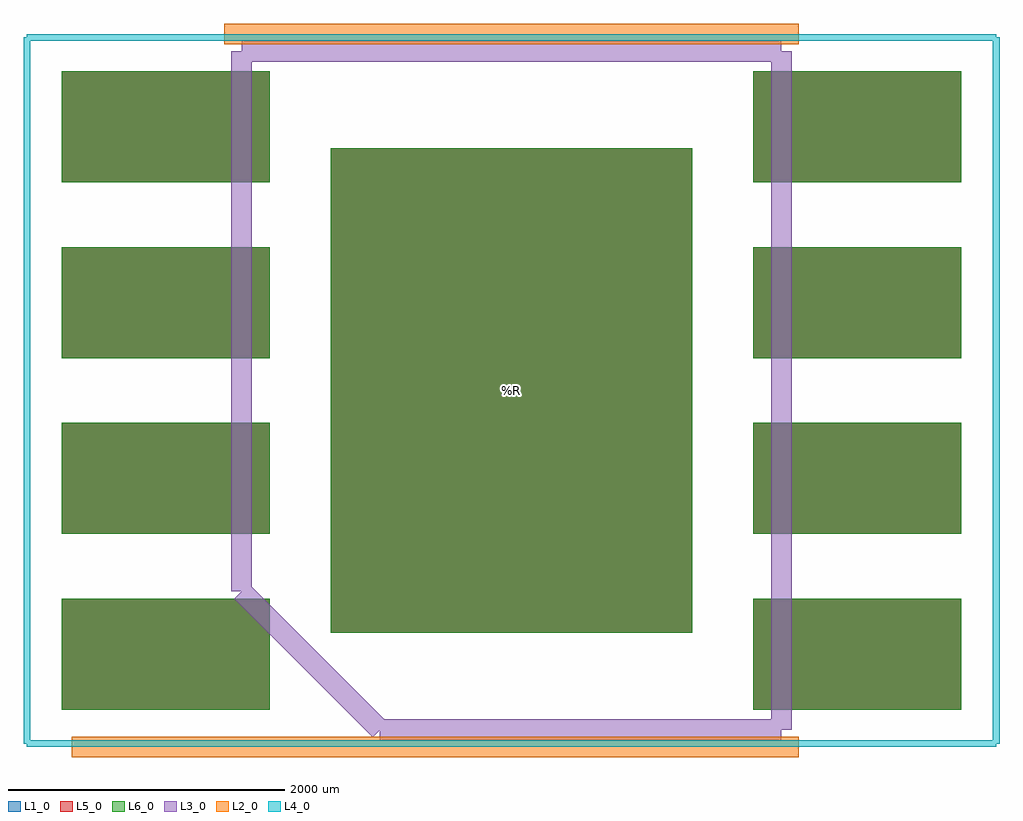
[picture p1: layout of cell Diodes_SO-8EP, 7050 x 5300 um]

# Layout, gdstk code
import gdstk
lib = gdstk.Library(unit=1e-6, precision=1e-09)
def R(c, l, rs):  # rectangles x0, y0, x1, y1
    for r in rs: c.add(gdstk.rectangle(r[:2], r[2:], *l))
def A(c, l, x, y, w, h, nx, ny, dx, dy):  # array of equal rectangles
    R(c, l, [(x+i*dx, y+j*dy, x+i*dx+w, y+j*dy+h) for i in range(nx) for j in range(ny)])
L1_0 = (1, 0)
L2_0 = (2, 0)
L3_0 = (3, 0)
L4_0 = (4, 0)
L5_0 = (5, 0)
L6_0 = (6, 0)

diodes_so_8ep = lib.new_cell('Diodes_SO-8EP')
A(diodes_so_8ep, L1_0, -3250, -2306, 1505, 802, 1, 4, 0, 1270)
A(diodes_so_8ep, L1_0, 1745, -2306, 1505, 802, 1, 4, 0, 1270)
R(diodes_so_8ep, L1_0, [(-1306,-1751,1306,1751)])
A(diodes_so_8ep, L5_0, -3250, -2306, 1505, 802, 1, 4, 0, 1270)
A(diodes_so_8ep, L5_0, 1745, -2306, 1505, 802, 1, 4, 0, 1270)
R(diodes_so_8ep, L5_0, [(-1306,-1751,1306,1751)])
A(diodes_so_8ep, L6_0, -3250, -2306, 1505, 802, 1, 4, 0, 1270)
A(diodes_so_8ep, L6_0, 1745, -2306, 1505, 802, 1, 4, 0, 1270)
R(diodes_so_8ep, L6_0, [(-1306,-1751,1306,1751)])
diodes_so_8ep.add(gdstk.FlexPath([(-950,-2450),(1950,-2450)], 150, ends="flush", simple_path=True, layer=3, datatype=0))  # L3_0
diodes_so_8ep.add(gdstk.FlexPath([(1950,-2450),(1950,2450)], 150, ends="flush", simple_path=True, layer=3, datatype=0))  # L3_0
diodes_so_8ep.add(gdstk.FlexPath([(1950,2450),(-1950,2450)], 150, ends="flush", simple_path=True, layer=3, datatype=0))  # L3_0
diodes_so_8ep.add(gdstk.FlexPath([(-1950,2450),(-1950,-1450)], 150, ends="flush", simple_path=True, layer=3, datatype=0))  # L3_0
diodes_so_8ep.add(gdstk.FlexPath([(-1950,-1450),(-950,-2450)], 150, ends="flush", simple_path=True, layer=3, datatype=0))  # L3_0
diodes_so_8ep.add(gdstk.FlexPath([(-3500,-2550),(-3500,2550)], 50, ends="flush", simple_path=True, layer=4, datatype=0))  # L4_0
diodes_so_8ep.add(gdstk.FlexPath([(3500,-2550),(3500,2550)], 50, ends="flush", simple_path=True, layer=4, datatype=0))  # L4_0
diodes_so_8ep.add(gdstk.FlexPath([(-3500,-2550),(3500,-2550)], 50, ends="flush", simple_path=True, layer=4, datatype=0))  # L4_0
diodes_so_8ep.add(gdstk.FlexPath([(-3500,2550),(3500,2550)], 50, ends="flush", simple_path=True, layer=4, datatype=0))  # L4_0
diodes_so_8ep.add(gdstk.FlexPath([(-3175,-2575),(2075,-2575)], 150, ends="flush", simple_path=True, layer=2, datatype=0))  # L2_0
diodes_so_8ep.add(gdstk.FlexPath([(-2075,2575),(2075,2575)], 150, ends="flush", simple_path=True, layer=2, datatype=0))  # L2_0
diodes_so_8ep.add(gdstk.Label('REF**', (0,-3300), layer=2, texttype=0))
diodes_so_8ep.add(gdstk.Label('Diodes_SO-8EP', (0,3400), layer=3, texttype=0))
diodes_so_8ep.add(gdstk.Label('%R', (0,0), layer=3, texttype=0))

lib.write_gds('Diodes_SO-8EP.gds')
